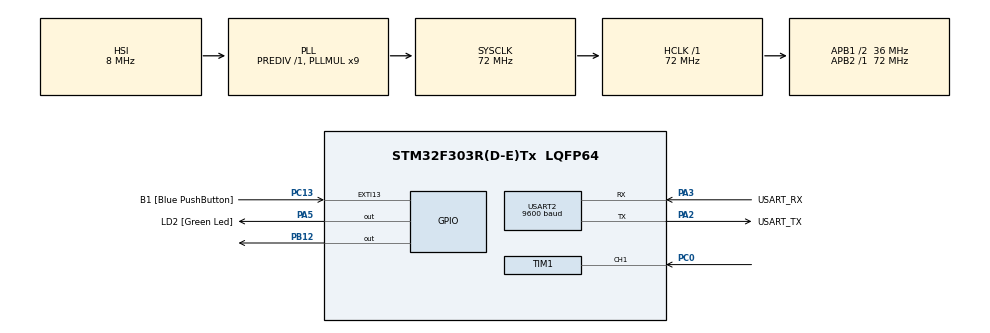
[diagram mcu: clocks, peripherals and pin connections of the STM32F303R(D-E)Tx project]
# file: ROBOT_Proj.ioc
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Mcu.Family=STM32F3
Mcu.Name=STM32F303R(D-E)Tx
Mcu.Package=LQFP64
NVIC.PriorityGroup=NVIC_PRIORITYGROUP_0
NVIC.TIM1_CC_IRQn=true\:0\:0\:false\:false\:true\:true\:true
PA13.GPIO_Label=TMS
PA13.Mode=Serial_Wire
PA13.Signal=SYS_JTMS-SWDIO
PA14.GPIO_Label=TCK
PA14.Mode=Serial_Wire
PA14.Signal=SYS_JTCK-SWCLK
PA2.GPIO_Label=USART_TX
PA2.GPIO_Mode=GPIO_MODE_AF_PP
PA2.GPIO_PuPd=GPIO_NOPULL
PA2.GPIO_Speed=GPIO_SPEED_FREQ_LOW
PA2.Mode=Asynchronous
PA2.Signal=USART2_TX
PA3.GPIO_Label=USART_RX
PA3.GPIO_Mode=GPIO_MODE_AF_PP
PA3.GPIO_PuPd=GPIO_NOPULL
PA3.GPIO_Speed=GPIO_SPEED_FREQ_LOW
PA3.Mode=Asynchronous
PA3.Signal=USART2_RX
PA5.GPIO_Label=LD2 [Green Led]
PA5.GPIO_Mode=GPIO_MODE_OUTPUT_PP
PA5.GPIO_PuPd=GPIO_NOPULL
PA5.GPIO_Speed=GPIO_SPEED_FREQ_LOW
PA5.Signal=GPIO_Output
PB12.Signal=GPIO_Output
PB3.GPIO_Label=SWO
PB3.Signal=SYS_JTDO-TRACESWO
PC0.Signal=S_TIM1_CH1
PC13.GPIO_Label=B1 [Blue PushButton]
PC13.GPIO_ModeDefaultEXTI=GPIO_MODE_IT_FALLING
PC13.Signal=GPXTI13
PC14-OSC32_IN.Mode=LSE-External-Oscillator
PC14-OSC32_IN.Signal=RCC_OSC32_IN
PC15-OSC32_OUT.Mode=LSE-External-Oscillator
PC15-OSC32_OUT.Signal=RCC_OSC32_OUT
PF0-OSC_IN.Mode=HSE-External-Clock-Source
PF0-OSC_IN.Signal=RCC_OSC_IN
PF1-OSC_OUT.Signal=RCC_OSC_OUT
ProjectManager.HeapSize=0x200
ProjectManager.StackSize=0x400
ProjectManager.TargetToolchain=STM32CubeIDE
RCC.AHBFreq_Value=72000000
RCC.APB1CLKDivider=RCC_HCLK_DIV2
RCC.APB1Freq_Value=36000000
RCC.APB1TimFreq_Value=72000000
RCC.APB2Freq_Value=72000000
RCC.APB2TimFreq_Value=72000000
RCC.CortexFreq_Value=72000000
RCC.HCLKFreq_Value=72000000
RCC.HSE_VALUE=8000000
RCC.HSI_VALUE=8000000
RCC.PLLM=8
RCC.PLLMUL=RCC_PLL_MUL9
RCC.PLLN=336
RCC.PLLP=RCC_PLLP_DIV4
RCC.PLLQ=7
RCC.RCC_PLLsource_Clock_Source_FROM_HSE=RCC_HSE_PREDIV_DIV2
RCC.SYSCLKFreq_VALUE=72000000
RCC.SYSCLKSourceVirtual=RCC_SYSCLKSOURCE_PLLCLK
RCC.USBFreq_Value=72000000
SH.S_TIM1_CH1.0=TIM1_CH1,Input_Capture1_from_TI1
TIM1.Channel-Input_Capture1_from_TI1=TIM_CHANNEL_1
TIM1.Period=0xffff-1
TIM1.Prescaler=72-1
USART2.BaudRate=9600
USART2.VirtualMode-Asynchronous=VM_ASYNC
board=NUCLEO-F303RE

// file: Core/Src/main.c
/* USER CODE BEGIN Header */
/**
  ******************************************************************************
  * @file           : main.c
  * @brief          : Main program body
  ******************************************************************************
  * @attention
  *
  * <h2><center>&copy; Copyright (c) 2021 STMicroelectronics.
  * All rights reserved.</center></h2>
  *
  * This software component is licensed by ST under BSD 3-Clause license,
  * the "License"; You may not use this file except in compliance with the
  * License. You may obtain a copy of the License at:
  *                        opensource.org/licenses/BSD-3-Clause
  *
  ******************************************************************************
  */
/* USER CODE END Header */
#include "main.h"

/* USER CODE BEGIN Includes */
#include <math.h>
#include "../Lib/HCSR04/HCSR04.h"
#include "stdio.h"
/* USER CODE END Includes */

/* USER CODE BEGIN PM */

TIM_HandleTypeDef htim1;
float Distance = 0.0;

void HAL_TIM_IC_CaptureCallback(TIM_HandleTypeDef *htim)
{
    HCSR04_TMR_IC_ISR(htim);
}

void HAL_TIM_PeriodElapsedCallback(TIM_HandleTypeDef* htim)
{
    HCSR04_TMR_OVF_ISR(htim);
}

uint16_t SysTicks = 0;

void SysTick_CallBack(void)
{
    SysTicks++;
    if(SysTicks == 15) // Each 15msec
    {
        HCSR04_Trigger(0);
        SysTicks = 0;
    }
}

/* USER CODE END PM */

TIM_HandleTypeDef htim1;

UART_HandleTypeDef huart2;

/* USER CODE BEGIN PV */
uint8_t MSG[25] = {0};
/* USER CODE END PV */

void SystemClock_Config(void);
static void MX_GPIO_Init(void);
static void MX_USART2_UART_Init(void);
static void MX_TIM1_Init(void);

int main(void)
{

  /* MCU Configuration--------------------------------------------------------*/

  /* Reset of all peripherals, Initializes the Flash interface and the Systick. */
  HAL_Init();

  /* Configure the system clock */
  SystemClock_Config();

  /* Initialize all configured peripherals */
  MX_GPIO_Init();
  MX_USART2_UART_Init();
  MX_TIM1_Init();
  /* USER CODE BEGIN 2 */
  HCSR04_Init(0, &htim1);

	//TIM3CH3 -> PC8 (LEFT)
	//TIM3CH2-> PC7 (RIGHT)

	/* GPIO Ports Clock Enable */
	RCC->AHBENR |= RCC_AHBENR_GPIOCEN;

	// Set pin to af
	//PC8
	GPIOC->MODER |= GPIO_MODER_MODER8_1;
	GPIOC->MODER &= ~GPIO_MODER_MODER8_0;

	//PC7
	GPIOC->MODER |= GPIO_MODER_MODER7_1;
	GPIOC->MODER &= ~GPIO_MODER_MODER7_0;

	//output push-pull
	//PC8
	GPIOC->OTYPER &= ~GPIO_OTYPER_OT_8;

	//PC7
	GPIOC->OTYPER &= ~GPIO_OTYPER_OT_7;

	//set pin speed to high
	//PC8
	GPIOC->OSPEEDR |= GPIO_OSPEEDER_OSPEEDR8_0 | GPIO_OSPEEDER_OSPEEDR8_1;

	//PC7
	GPIOC->OSPEEDR |= GPIO_OSPEEDER_OSPEEDR7_0 | GPIO_OSPEEDER_OSPEEDR7_1;

	//set af to 2
	//PC8
	GPIOC->AFR[1] &= ~(0b1111);
	GPIOC->AFR[1] |= 0b10;

	//PC7
	GPIOC->AFR[0] &= ~(0b1111 << 30);
	GPIOC->AFR[0] |= 0b10 << 28;

	//Enable the timer
	RCC->APB1ENR |= RCC_APB1ENR_TIM3EN;

	//configure the timer
	//TIM3CH3
	TIM3->CCER |= TIM_CCER_CC3E;

	//TIM3CH2
	TIM3->CCER |= TIM_CCER_CC2E;

	TIM3->CR1 |= TIM_CR1_ARPE;

	//set timer to pwm mode
	//TIM3CH3
	TIM3->CCMR2 |= TIM_CCMR2_OC3M_1 | TIM_CCMR2_OC3M_2;
	TIM3->CCMR2 |= TIM_CCMR2_OC3PE;

	//TIM3CH2
	TIM3->CCMR1 |= TIM_CCMR1_OC2M_1 | TIM_CCMR1_OC2M_2;
	TIM3->CCMR1 |= TIM_CCMR1_OC2PE;

	TIM3->PSC = 144;
	TIM3->ARR = 10000;

	TIM3->EGR |= TIM_EGR_UG;
	TIM3->CR1 |= TIM_CR1_CEN;

	float close_sens = 3;
	float far_sens = 30;

	void TurnLeft(int angle){
		//625 - 90deg
		int delay = angle * 6.94;

		TIM3->CCR3 = 0;
		TIM3->CCR2 = 630;
		HAL_Delay(delay);
		TIM3->CCR2 = 870;
		HAL_Delay(delay/12.5);
		TIM3->CCR2 = 0;
	}

	void TurnRight(int angle){
		//675 - 90deg
		int delay = angle * 7.85;

		TIM3->CCR2 = 0;
		TIM3->CCR3 = 870;
		HAL_Delay(delay);
		TIM3->CCR3 = 630;
		HAL_Delay(delay/11.9);
		TIM3->CCR3 = 0;
	}

	void MoveBack(int time){
		TIM3->CCR2 = 0;
		TIM3->CCR3 = 0;

		TIM3->CCR2 = 820;
		TIM3->CCR3 = 630;
		HAL_Delay(time);
		TIM3->CCR2 = 0;
		TIM3->CCR3 = 0;
	}

	float GetDistance(){
		float dist = 0.0;

		do{
			dist = HCSR04_Read(0);
			// an issue with the library returns a bigger value than expected. Hardcoding a value until fixed
			dist -= 1113.5f;
		} while(dist <= 0.0);

		return dist;
	}

  /* USER CODE END 2 */

  /* Infinite loop */
  while (1)
  {

    /* USER CODE BEGIN 3 */

	  Distance = GetDistance();

      //DIstance, mapped between the sens values
      float dist_map = ((Distance)+close_sens)/far_sens;

      // Sigmoid function for smooth stop
      float mappedValue = 1.0/(1.0+(pow(M_E, ((dist_map*-1)))));

      // We use only half of the sigmoid curve because we don't use negative values
      mappedValue -= 0.5;
      mappedValue *= 2.0;

      // Format for one decimal place
      mappedValue = floorf(mappedValue * 10) / 10;

      //770-870 (LEFT)
      TIM3->CCR3 = (mappedValue * (870-770)) + 760;

      //730-630 (RIGHT)
      TIM3->CCR2 = 737 - (mappedValue * (737-637));

      // if we stopped in front of a wall
      if(mappedValue < 0.3){
    	  // generate random turning angle
    	  uint32_t seed = HAL_GetTick();
    	  int amount = seed % 100;
    	  if(seed > 90) seed -= 90;

    	  MoveBack(200);

    	  // choose random direction
    	  seed = HAL_GetTick();
    	  if(seed % 2 == 0) TurnRight(amount);
    	  else TurnLeft(amount);

    	  TurnRight(20);
      }

	  HAL_Delay(100);

  }
  /* USER CODE END 3 */
}

void SystemClock_Config(void)
{
  RCC_OscInitTypeDef RCC_OscInitStruct = {0};
  RCC_ClkInitTypeDef RCC_ClkInitStruct = {0};
  RCC_PeriphCLKInitTypeDef PeriphClkInit = {0};

  /** Initializes the RCC Oscillators according to the specified parameters
  * in the RCC_OscInitTypeDef structure.
  */
  RCC_OscInitStruct.OscillatorType = RCC_OSCILLATORTYPE_HSI;
  RCC_OscInitStruct.HSIState = RCC_HSI_ON;
  RCC_OscInitStruct.HSICalibrationValue = RCC_HSICALIBRATION_DEFAULT;
  RCC_OscInitStruct.PLL.PLLState = RCC_PLL_ON;
  RCC_OscInitStruct.PLL.PLLSource = RCC_PLLSOURCE_HSI;
  RCC_OscInitStruct.PLL.PLLMUL = RCC_PLL_MUL9;
  RCC_OscInitStruct.PLL.PREDIV = RCC_PREDIV_DIV1;
  if (HAL_RCC_OscConfig(&RCC_OscInitStruct) != HAL_OK)
  {
    Error_Handler();
  }
  /** Initializes the CPU, AHB and APB buses clocks
  */
  RCC_ClkInitStruct.ClockType = RCC_CLOCKTYPE_HCLK|RCC_CLOCKTYPE_SYSCLK
                              |RCC_CLOCKTYPE_PCLK1|RCC_CLOCKTYPE_PCLK2;
  RCC_ClkInitStruct.SYSCLKSource = RCC_SYSCLKSOURCE_PLLCLK;
  RCC_ClkInitStruct.AHBCLKDivider = RCC_SYSCLK_DIV1;
  RCC_ClkInitStruct.APB1CLKDivider = RCC_HCLK_DIV2;
  RCC_ClkInitStruct.APB2CLKDivider = RCC_HCLK_DIV1;

  if (HAL_RCC_ClockConfig(&RCC_ClkInitStruct, FLASH_LATENCY_2) != HAL_OK)
  {
    Error_Handler();
  }
  PeriphClkInit.PeriphClockSelection = RCC_PERIPHCLK_USART2|RCC_PERIPHCLK_TIM1;
  PeriphClkInit.Usart2ClockSelection = RCC_USART2CLKSOURCE_PCLK1;
  PeriphClkInit.Tim1ClockSelection = RCC_TIM1CLK_HCLK;
  if (HAL_RCCEx_PeriphCLKConfig(&PeriphClkInit) != HAL_OK)
  {
    Error_Handler();
  }
}

static void MX_TIM1_Init(void)
{

  TIM_MasterConfigTypeDef sMasterConfig = {0};
  TIM_IC_InitTypeDef sConfigIC = {0};

  htim1.Instance = TIM1;
  htim1.Init.Prescaler = 72-1;
  htim1.Init.CounterMode = TIM_COUNTERMODE_UP;
  htim1.Init.Period = 0xffff-1;
  htim1.Init.ClockDivision = TIM_CLOCKDIVISION_DIV1;
  htim1.Init.RepetitionCounter = 0;
  htim1.Init.AutoReloadPreload = TIM_AUTORELOAD_PRELOAD_DISABLE;
  if (HAL_TIM_IC_Init(&htim1) != HAL_OK)
  {
    Error_Handler();
  }
  sMasterConfig.MasterOutputTrigger = TIM_TRGO_RESET;
  sMasterConfig.MasterOutputTrigger2 = TIM_TRGO2_RESET;
  sMasterConfig.MasterSlaveMode = TIM_MASTERSLAVEMODE_DISABLE;
  if (HAL_TIMEx_MasterConfigSynchronization(&htim1, &sMasterConfig) != HAL_OK)
  {
    Error_Handler();
  }
  sConfigIC.ICPolarity = TIM_INPUTCHANNELPOLARITY_RISING;
  sConfigIC.ICSelection = TIM_ICSELECTION_DIRECTTI;
  sConfigIC.ICPrescaler = TIM_ICPSC_DIV1;
  sConfigIC.ICFilter = 0;
  if (HAL_TIM_IC_ConfigChannel(&htim1, &sConfigIC, TIM_CHANNEL_1) != HAL_OK)
  {
    Error_Handler();
  }

}

static void MX_USART2_UART_Init(void)
{

  huart2.Instance = USART2;
  huart2.Init.BaudRate = 9600;
  huart2.Init.WordLength = UART_WORDLENGTH_8B;
  huart2.Init.StopBits = UART_STOPBITS_1;
  huart2.Init.Parity = UART_PARITY_NONE;
  huart2.Init.Mode = UART_MODE_TX_RX;
  huart2.Init.HwFlowCtl = UART_HWCONTROL_NONE;
  huart2.Init.OverSampling = UART_OVERSAMPLING_16;
  huart2.Init.OneBitSampling = UART_ONE_BIT_SAMPLE_DISABLE;
  huart2.AdvancedInit.AdvFeatureInit = UART_ADVFEATURE_NO_INIT;
  if (HAL_UART_Init(&huart2) != HAL_OK)
  {
    Error_Handler();
  }

}

static void MX_GPIO_Init(void)
{
  GPIO_InitTypeDef GPIO_InitStruct = {0};

  /* GPIO Ports Clock Enable */
  __HAL_RCC_GPIOC_CLK_ENABLE();
  __HAL_RCC_GPIOF_CLK_ENABLE();
  __HAL_RCC_GPIOA_CLK_ENABLE();
  __HAL_RCC_GPIOB_CLK_ENABLE();

  /*Configure GPIO pin Output Level */
  HAL_GPIO_WritePin(LD2_GPIO_Port, LD2_Pin, GPIO_PIN_RESET);

  /*Configure GPIO pin Output Level */
  HAL_GPIO_WritePin(GPIOB, GPIO_PIN_12, GPIO_PIN_RESET);

  /*Configure GPIO pin : B1_Pin */
  GPIO_InitStruct.Pin = B1_Pin;
  GPIO_InitStruct.Mode = GPIO_MODE_IT_FALLING;
  GPIO_InitStruct.Pull = GPIO_NOPULL;
  HAL_GPIO_Init(B1_GPIO_Port, &GPIO_InitStruct);

  /*Configure GPIO pin : LD2_Pin */
  GPIO_InitStruct.Pin = LD2_Pin;
  GPIO_InitStruct.Mode = GPIO_MODE_OUTPUT_PP;
  GPIO_InitStruct.Pull = GPIO_NOPULL;
  GPIO_InitStruct.Speed = GPIO_SPEED_FREQ_LOW;
  HAL_GPIO_Init(LD2_GPIO_Port, &GPIO_InitStruct);

  /*Configure GPIO pin : PB12 */
  GPIO_InitStruct.Pin = GPIO_PIN_12;
  GPIO_InitStruct.Mode = GPIO_MODE_OUTPUT_PP;
  GPIO_InitStruct.Pull = GPIO_NOPULL;
  GPIO_InitStruct.Speed = GPIO_SPEED_FREQ_LOW;
  HAL_GPIO_Init(GPIOB, &GPIO_InitStruct);

}

void Error_Handler(void)
{
  __disable_irq();
  while (1)
  {
  }
}

/************************ (C) COPYRIGHT STMicroelectronics *****END OF FILE****/
